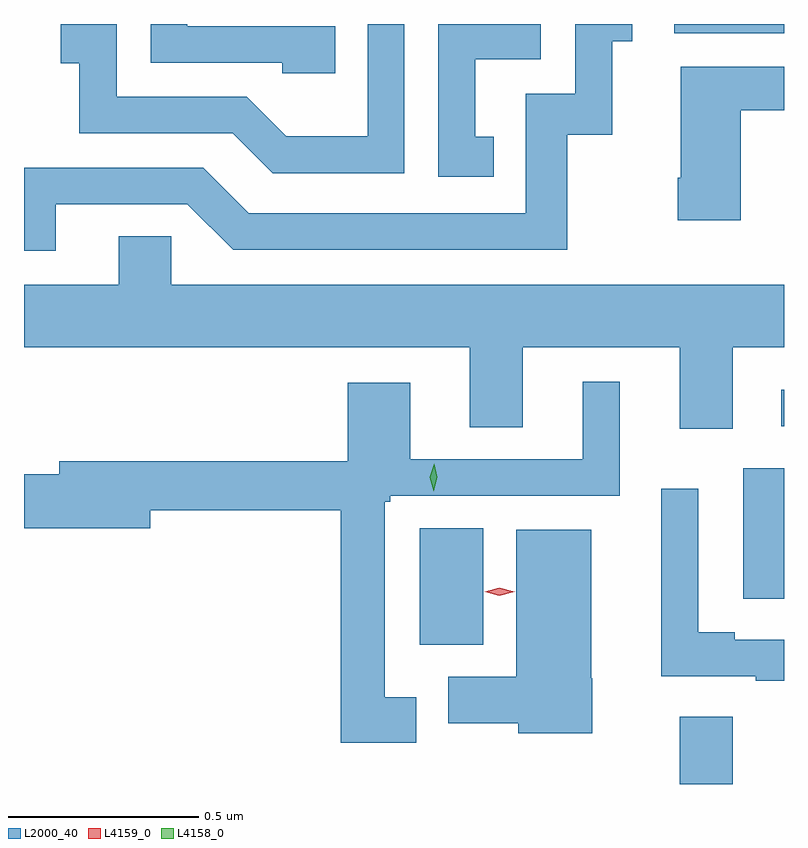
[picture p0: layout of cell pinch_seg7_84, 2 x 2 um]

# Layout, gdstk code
import gdstk
lib = gdstk.Library(unit=1e-6, precision=1e-09)
def R(c, l, rs):  # rectangles x0, y0, x1, y1
    for r in rs: c.add(gdstk.rectangle(r[:2], r[2:], *l))
def P(c, l, *ps):  # polygons
    for p in ps: c.add(gdstk.Polygon(p, *l))
L2000_40 = (2000, 40)
L4158_0 = (4158, 0)
L4159_0 = (4159, 0)

pinch_seg7_84 = lib.new_cell('pinch_seg7_84')
R(pinch_seg7_84, L2000_40, [(881.291,1042.09,881.431,1042.267), (880.607,1042.457,880.774,1042.763), (881.459,1042.577,881.566,1042.921), (881.559,1043.031,881.566,1043.127), (881.277,1044.066,881.566,1044.09)])
P(pinch_seg7_84, L2000_40, [(880.385,1044.084),(879.996,1044.084),(879.996,1044.09),(879.9,1044.09),(879.9,1043.988),(880.245,1043.988),(880.245,1043.961),(880.385,1043.961)],
  [(879.649,1043.616),(879.996,1043.616),(880.116,1043.496),(880.996,1043.496),(880.996,1043.799),(881.114,1043.799),(881.114,1044.045),(881.167,1044.045),(881.167,1044.09),(881.016,1044.09),(881.016,1043.907),(880.887,1043.907),(880.887,1043.592),(880.158,1043.592),(880.038,1043.712),(879.566,1043.712),(879.566,1043.493),(879.649,1043.493)],
  [(880.566,1044.09),(880.47,1044.09),(880.47,1043.794),(880.256,1043.794),(880.152,1043.898),(879.81,1043.898),(879.81,1044.09),(879.663,1044.09),(879.663,1043.987),(879.712,1043.987),(879.712,1043.802),(880.115,1043.802),(880.22,1043.697),(880.566,1043.697)],
  [(880.802,1043.793),(880.753,1043.793),(880.753,1043.997),(880.926,1043.997),(880.926,1044.09),(880.656,1044.09),(880.656,1043.688),(880.802,1043.688)],
  [(881.452,1043.863),(881.566,1043.863),(881.566,1043.977),(881.294,1043.977),(881.294,1043.686),(881.287,1043.686),(881.287,1043.574),(881.452,1043.574)],
  [(881.431,1043.24),(881.566,1043.24),(881.566,1043.404),(879.954,1043.404),(879.954,1043.531),(879.815,1043.531),(879.815,1043.404),(879.566,1043.404),(879.566,1043.24),(880.739,1043.24),(880.739,1043.029),(880.879,1043.029),(880.879,1043.24),(881.291,1043.24),(881.291,1043.025),(881.431,1043.025)],
  [(880.598,1042.318),(880.515,1042.318),(880.515,1042.833),(880.53,1042.833),(880.53,1042.848),(881.134,1042.848),(881.134,1043.149),(881.036,1043.149),(881.036,1042.944),(880.582,1042.944),(880.582,1043.146),(880.418,1043.146),(880.418,1042.939),(879.659,1042.939),(879.659,1042.905),(879.566,1042.905),(879.566,1042.763),(879.898,1042.763),(879.898,1042.81),(880.399,1042.81),(880.399,1042.199),(880.598,1042.199)],
  [(881.566,1042.47),(881.437,1042.47),(881.437,1042.49),(881.34,1042.49),(881.34,1042.867),(881.243,1042.867),(881.243,1042.374),(881.492,1042.374),(881.492,1042.362),(881.566,1042.362)],
  [(881.062,1042.368),(881.059,1042.368),(881.059,1042.759),(880.862,1042.759),(880.862,1042.372),(880.683,1042.372),(880.683,1042.25),(880.866,1042.25),(880.866,1042.223),(881.062,1042.223)])
P(pinch_seg7_84, L4158_0, [(880.644,1042.861),(880.644,1042.861),(880.634,1042.897),(880.645,1042.933),(880.645,1042.933),(880.645,1042.933),(880.654,1042.897),(880.644,1042.861)])
P(pinch_seg7_84, L4159_0, [(880.817,1042.586),(880.778,1042.596),(880.778,1042.596),(880.778,1042.596),(880.817,1042.606),(880.857,1042.596),(880.857,1042.596),(880.857,1042.596)])

lib.write_gds('pinch_seg7_84.gds')
